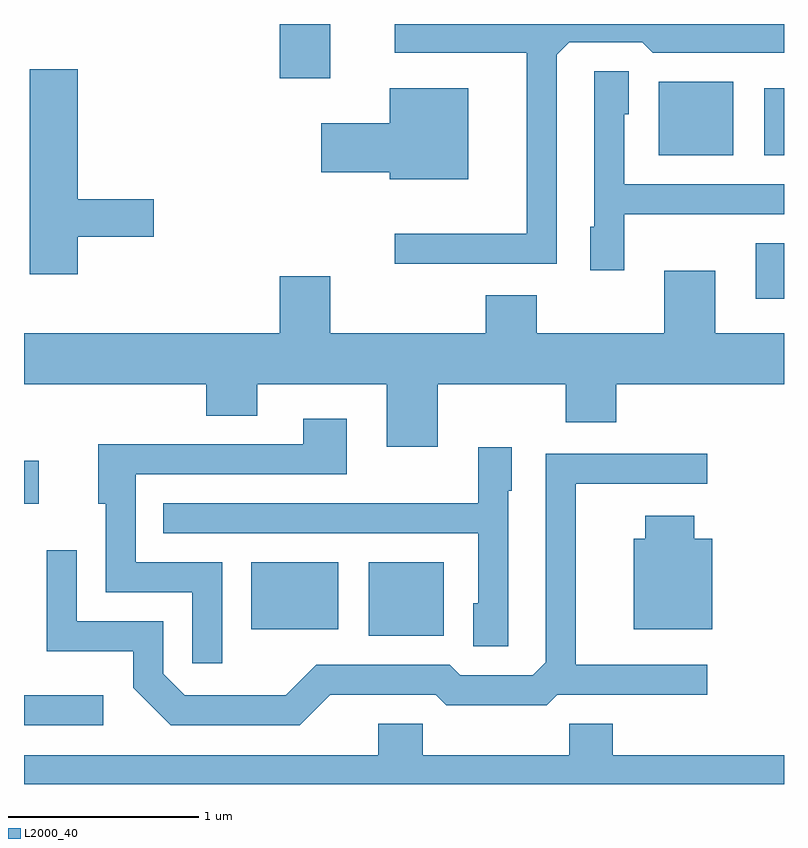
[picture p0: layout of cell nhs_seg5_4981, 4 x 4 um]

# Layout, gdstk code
import gdstk
lib = gdstk.Library(unit=1e-6, precision=1e-09)
def R(c, l, rs):  # rectangles x0, y0, x1, y1
    for r in rs: c.add(gdstk.rectangle(r[:2], r[2:], *l))
def P(c, l, *ps):  # polygons
    for p in ps: c.add(gdstk.Polygon(p, *l))
L2000_40 = (2000, 40)

nhs_seg5_4981 = lib.new_cell('nhs_seg5_4981')
R(nhs_seg5_4981, L2000_40, [(333.611,1408.381,334.028,1408.539), (335.426,1408.851,335.819,1409.239), (334.806,1408.886,335.264,1409.239), (333.611,1409.546,333.689,1409.774), (337.461,1410.626,337.611,1410.919), (336.951,1411.381,337.344,1411.769), (337.506,1411.381,337.611,1411.734), (334.956,1411.786,335.224,1412.072)])
P(nhs_seg5_4981, L2000_40, [(336.414,1411.909),(336.482,1411.976),(336.864,1411.976),(336.919,1411.921),(337.611,1411.921),(337.611,1412.072),(335.563,1412.072),(335.563,1411.921),(336.256,1411.921),(336.256,1410.969),(335.563,1410.969),(335.563,1410.811),(336.414,1410.811)],
  [(333.894,1410.951),(334.294,1410.951),(334.294,1411.149),(333.894,1411.149),(333.894,1411.834),(333.641,1411.834),(333.641,1410.756),(333.894,1410.756)],
  [(336.769,1411.071),(337.611,1411.071),(337.611,1411.229),(336.769,1411.229),(336.769,1411.596),(336.794,1411.596),(336.794,1411.824),(336.611,1411.824),(336.611,1411.004),(336.591,1411.004),(336.591,1410.776),(336.769,1410.776)],
  [(335.949,1411.734),(335.536,1411.734),(335.536,1411.549),(335.176,1411.549),(335.176,1411.291),(335.536,1411.291),(335.536,1411.256),(335.949,1411.256)],
  [(335.789,1410.176),(336.461,1410.176),(336.461,1409.976),(336.729,1409.976),(336.729,1410.176),(337.611,1410.176),(337.611,1410.444),(337.249,1410.444),(337.249,1410.774),(336.981,1410.774),(336.981,1410.444),(336.309,1410.444),(336.309,1410.644),(336.041,1410.644),(336.041,1410.444),(335.224,1410.444),(335.224,1410.744),(334.956,1410.744),(334.956,1410.444),(333.611,1410.444),(333.611,1410.176),(334.571,1410.176),(334.571,1410.011),(334.839,1410.011),(334.839,1410.176),(335.521,1410.176),(335.521,1409.846),(335.789,1409.846)],
  [(334.654,1409.239),(334.199,1409.239),(334.199,1409.701),(335.309,1409.701),(335.309,1409.994),(335.081,1409.994),(335.081,1409.859),(334.001,1409.859),(334.001,1409.546),(334.041,1409.546),(334.041,1409.081),(334.496,1409.081),(334.496,1408.708),(334.654,1408.708)],
  [(336.159,1409.616),(336.179,1409.616),(336.179,1409.844),(336.001,1409.844),(336.001,1409.549),(334.343,1409.549),(334.343,1409.391),(336.001,1409.391),(336.001,1409.024),(335.976,1409.024),(335.976,1408.796),(336.159,1408.796)],
  [(335.222,1408.541),(335.779,1408.541),(335.834,1408.486),(336.362,1408.486),(336.417,1408.541),(337.208,1408.541),(337.208,1408.699),(336.514,1408.699),(336.514,1409.651),(337.208,1409.651),(337.208,1409.809),(336.356,1409.809),(336.356,1408.712),(336.289,1408.644),(335.907,1408.644),(335.852,1408.699),(335.149,1408.699),(334.989,1408.539),(334.457,1408.539),(334.344,1408.652),(334.344,1408.929),(333.889,1408.929),(333.889,1409.303),(333.731,1409.303),(333.731,1408.771),(334.186,1408.771),(334.186,1408.579),(334.384,1408.381),(335.062,1408.381)],
  [(337.234,1409.364),(337.139,1409.364),(337.139,1409.484),(336.881,1409.484),(336.881,1409.364),(336.821,1409.364),(336.821,1408.886),(337.234,1408.886)],
  [(337.611,1408.224),(336.709,1408.224),(336.709,1408.389),(336.481,1408.389),(336.481,1408.224),(335.709,1408.224),(335.709,1408.389),(335.476,1408.389),(335.476,1408.224),(333.611,1408.224),(333.611,1408.072),(337.611,1408.072)])

lib.write_gds('nhs_seg5_4981.gds')
